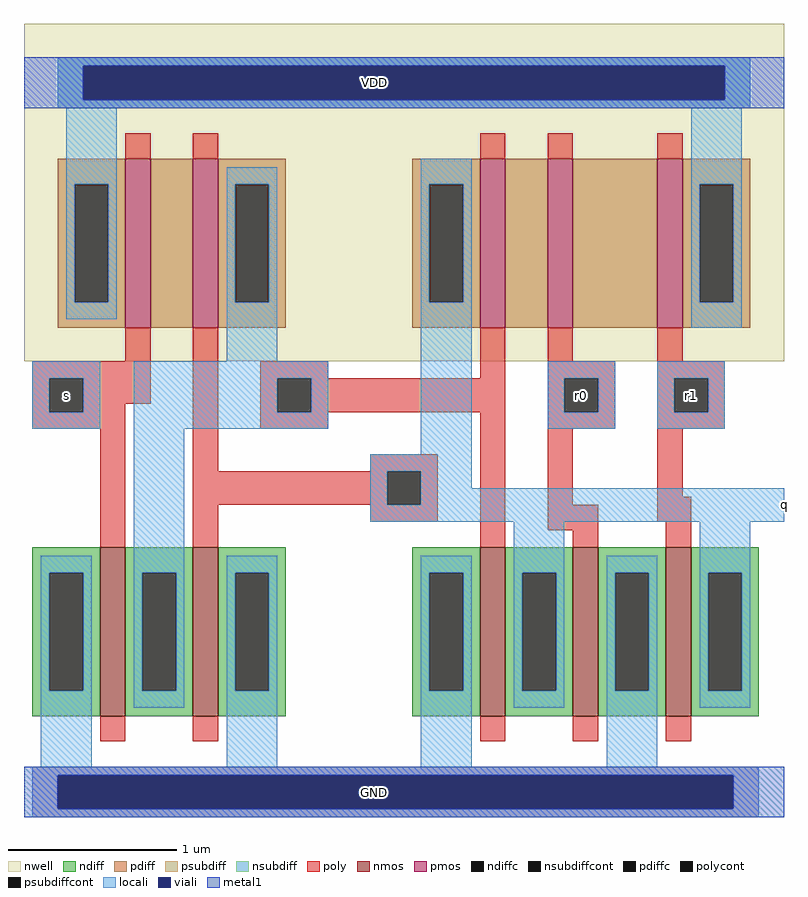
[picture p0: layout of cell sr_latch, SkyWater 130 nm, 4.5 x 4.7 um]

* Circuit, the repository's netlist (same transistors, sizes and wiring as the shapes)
* NGSPICE file created from sr_latch.ext - technology: sky130A

*.subckt sr_latch s r0 r1 q
X0 q a_30_n110# GND GND sky130_fd_pr__nfet_01v8 ad=0.2 pd=1.4 as=0.4 ps=2.8 w=1 l=0.15
X1 GND r0 q GND sky130_fd_pr__nfet_01v8 ad=0.2 pd=1.4 as=0.2 ps=1.4 w=1 l=0.15
X2 a_30_n110# s GND GND sky130_fd_pr__nfet_01v8 ad=0.2 pd=1.4 as=0.4 ps=2.8 w=1 l=0.15
X3 a_30_n110# q a_60_350# VDD sky130_fd_pr__pfet_01v8 ad=0.4 pd=2.8 as=0.125 ps=1.25 w=1 l=0.15
X4 a_480_350# a_30_n110# q VDD sky130_fd_pr__pfet_01v8 ad=0.125 pd=1.25 as=0.4 ps=2.8 w=1 l=0.15
X5 a_60_350# s VDD VDD sky130_fd_pr__pfet_01v8 ad=0.125 pd=1.25 as=0.4 ps=2.8 w=1 l=0.15
X6 VDD r1 a_560_350# VDD sky130_fd_pr__pfet_01v8 ad=0.4 pd=2.8 as=0.25 ps=1.5 w=1 l=0.15
X7 GND q a_30_n110# GND sky130_fd_pr__nfet_01v8 ad=0.4 pd=2.8 as=0.2 ps=1.4 w=1 l=0.15
X8 q r1 GND GND sky130_fd_pr__nfet_01v8 ad=0.4 pd=2.8 as=0.2 ps=1.4 w=1 l=0.15
X9 a_560_350# r0 a_480_350# VDD sky130_fd_pr__pfet_01v8 ad=0.25 pd=1.5 as=0.125 ps=1.25 w=1 l=0.15
*.ends

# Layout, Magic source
magic
tech sky130A
<< nwell >>
rect -45 155 405 355
<< nmos >>
rect 0 -55 15 45
rect 55 -55 70 45
rect 225 -55 240 45
rect 280 -55 295 45
rect 335 -55 350 45
<< pmos >>
rect 15 175 30 275
rect 55 175 70 275
rect 225 175 240 275
rect 265 175 280 275
rect 330 175 345 275
<< ndiff >>
rect -40 30 0 45
rect -40 -40 -30 30
rect -10 -40 0 30
rect -40 -55 0 -40
rect 15 30 55 45
rect 15 -40 25 30
rect 45 -40 55 30
rect 15 -55 55 -40
rect 70 30 110 45
rect 70 -40 80 30
rect 100 -40 110 30
rect 70 -55 110 -40
rect 185 30 225 45
rect 185 -40 195 30
rect 215 -40 225 30
rect 185 -55 225 -40
rect 240 30 280 45
rect 240 -40 250 30
rect 270 -40 280 30
rect 240 -55 280 -40
rect 295 30 335 45
rect 295 -40 305 30
rect 325 -40 335 30
rect 295 -55 335 -40
rect 350 30 390 45
rect 350 -40 360 30
rect 380 -40 390 30
rect 350 -55 390 -40
<< pdiff >>
rect -25 260 15 275
rect -25 190 -15 260
rect 5 190 15 260
rect -25 175 15 190
rect 30 175 55 275
rect 70 260 110 275
rect 70 190 80 260
rect 100 190 110 260
rect 70 175 110 190
rect 185 260 225 275
rect 185 190 195 260
rect 215 190 225 260
rect 185 175 225 190
rect 240 175 265 275
rect 280 175 330 275
rect 345 260 385 275
rect 345 190 355 260
rect 375 190 385 260
rect 345 175 385 190
<< ndiffc >>
rect -30 -40 -10 30
rect 25 -40 45 30
rect 80 -40 100 30
rect 195 -40 215 30
rect 250 -40 270 30
rect 305 -40 325 30
rect 360 -40 380 30
<< pdiffc >>
rect -15 190 5 260
rect 80 190 100 260
rect 195 190 215 260
rect 355 190 375 260
<< psubdiff >>
rect -40 -90 390 -85
rect -40 -110 -25 -90
rect 375 -110 390 -90
rect -40 -115 390 -110
<< nsubdiff >>
rect -25 330 385 335
rect -25 310 -10 330
rect 370 310 385 330
rect -25 305 385 310
<< psubdiffcont >>
rect -25 -110 375 -90
<< nsubdiffcont >>
rect -10 310 370 330
<< poly >>
rect 15 275 30 290
rect 55 275 70 290
rect 225 275 240 290
rect 265 275 280 290
rect 330 275 345 290
rect 15 155 30 175
rect -40 145 30 155
rect -40 125 -30 145
rect -10 130 30 145
rect -10 125 15 130
rect -40 115 15 125
rect 0 45 15 115
rect 55 90 70 175
rect 95 145 135 155
rect 225 145 240 175
rect 95 125 105 145
rect 125 125 240 145
rect 95 115 135 125
rect 160 90 200 100
rect 55 70 170 90
rect 190 70 200 90
rect 55 45 70 70
rect 160 60 200 70
rect 225 45 240 125
rect 265 155 280 175
rect 330 155 345 175
rect 265 145 305 155
rect 265 125 275 145
rect 295 125 305 145
rect 265 115 305 125
rect 330 145 370 155
rect 330 125 340 145
rect 360 125 370 145
rect 330 115 370 125
rect 265 70 280 115
rect 330 75 345 115
rect 265 55 295 70
rect 330 60 350 75
rect 280 45 295 55
rect 335 45 350 60
rect 0 -70 15 -55
rect 55 -70 70 -55
rect 225 -70 240 -55
rect 280 -70 295 -55
rect 335 -70 350 -55
<< polycont >>
rect -30 125 -10 145
rect 105 125 125 145
rect 170 70 190 90
rect 275 125 295 145
rect 340 125 360 145
<< locali >>
rect -25 330 385 335
rect -25 310 -10 330
rect 370 310 385 330
rect -25 305 385 310
rect -20 260 10 305
rect -20 190 -15 260
rect 5 190 10 260
rect -20 180 10 190
rect 75 260 105 270
rect 75 190 80 260
rect 100 190 105 260
rect 75 155 105 190
rect 190 260 220 275
rect 190 190 195 260
rect 215 190 220 260
rect -40 145 0 155
rect -40 125 -30 145
rect -10 125 0 145
rect -40 115 0 125
rect 20 145 135 155
rect 20 125 105 145
rect 125 125 135 145
rect 20 115 135 125
rect -35 30 -5 40
rect -35 -40 -30 30
rect -10 -40 -5 30
rect -35 -85 -5 -40
rect 20 30 50 115
rect 190 100 220 190
rect 350 260 380 305
rect 350 190 355 260
rect 375 190 380 260
rect 350 175 380 190
rect 265 145 305 155
rect 265 125 275 145
rect 295 125 305 145
rect 265 115 305 125
rect 330 145 370 155
rect 330 125 340 145
rect 360 125 370 145
rect 330 115 370 125
rect 160 90 220 100
rect 160 70 170 90
rect 190 80 220 90
rect 190 70 405 80
rect 160 60 405 70
rect 20 -40 25 30
rect 45 -40 50 30
rect 20 -50 50 -40
rect 75 30 105 40
rect 75 -40 80 30
rect 100 -40 105 30
rect 75 -85 105 -40
rect 190 30 220 40
rect 190 -40 195 30
rect 215 -40 220 30
rect 190 -85 220 -40
rect 245 30 275 60
rect 245 -40 250 30
rect 270 -40 275 30
rect 245 -50 275 -40
rect 300 30 330 40
rect 300 -40 305 30
rect 325 -40 330 30
rect 300 -85 330 -40
rect 355 30 385 60
rect 355 -40 360 30
rect 380 -40 385 30
rect 355 -50 385 -40
rect -40 -90 390 -85
rect -40 -110 -25 -90
rect 375 -110 390 -90
rect -40 -115 390 -110
<< viali >>
rect -10 310 370 330
rect -25 -110 375 -90
<< metal1 >>
rect -45 330 405 335
rect -45 310 -10 330
rect 370 310 405 330
rect -45 305 405 310
rect -45 -90 405 -85
rect -45 -110 -25 -90
rect 375 -110 405 -90
rect -45 -115 405 -110
<< labels >>
rlabel locali -40 115 0 155 7 s
port 1 w
rlabel locali 405 60 405 80 3 q
port 4 e
rlabel locali 265 115 305 155 7 r0
port 2 w
rlabel locali 330 115 370 155 3 r1
port 3 e
rlabel metal1 -45 305 370 335 1 VDD
rlabel metal1 -45 -115 370 -85 5 GND
<< end >>
